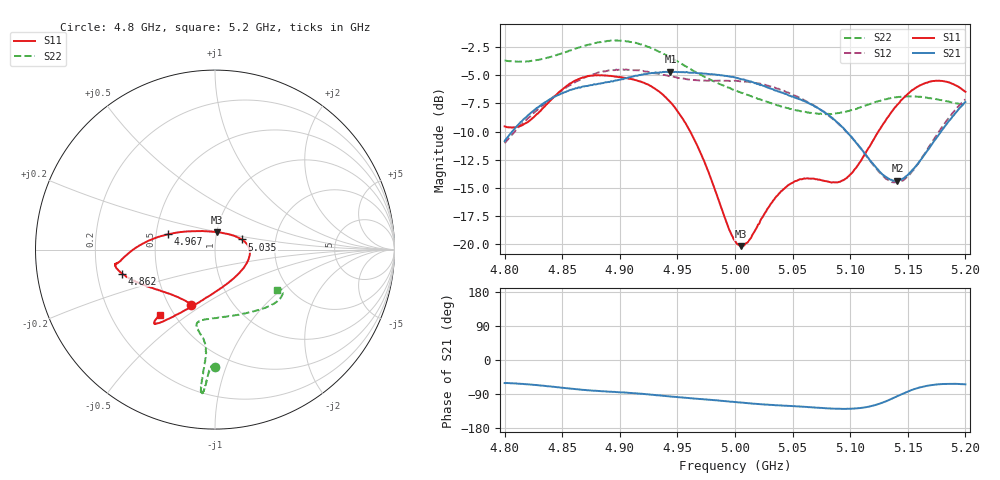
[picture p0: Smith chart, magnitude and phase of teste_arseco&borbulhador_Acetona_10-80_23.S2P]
! Network Analyzer HP8722D
! Hewlett-Packard
! Data name: Linha & Wilkinson
! Saver's name: Rodrigo Anjos
! Comments: Teste da utilização de aquisição
! continua pelo VNA HP8722D
! Time and date: 17/4/2025 14:33
!  Frequency  S11  S21  S12  S22
# HZ  S  MA R 50
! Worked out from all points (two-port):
!   401 points, 4.8 GHz to 5.2 GHz, reference 50 ohm
!   highest |S21| = -4.67 dB at 4.944 GHz (marker M1); lowest = -14.4 dB at 5.141 GHz (marker M2)
!   |S21| within 3 dB of the highest: 4.831 GHz to 5.068 GHz (236.9 MHz wide, 4.79 % of centre); 5.19721 GHz to end of sweep
!   lowest |S11| = -20.2 dB at 5.005 GHz (marker M3), VSWR 1.22, Z = 49.9 + j9.8 ohm
!   |S11| at or under -10 dB: 4.961 GHz to 5.124 GHz (163.3 MHz wide, 3.24 % of centre)
!   |S22| runs from -8.5 to -1.9 dB; largest |S21 - S12| = 0.88
!   S11 on the Smith chart (normalised r, x): 4.8 GHz: 0.65, -0.45; 4.862 GHz: 0.31, -0.11; 4.967 GHz: 0.58, +0.11; 5.035 GHz: 1.34, +0.16; 5.2 GHz: 0.42, -0.39
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4.8e9  0.3334 -113.2  0.2866 -60.9  0.2806 -175.0  0.6549 -90.0
4.82e9  0.3481 -134.1  0.3724 -64.1  0.3617 -173.5  0.6501 -91.6
4.862e9  0.5357 -165.6  0.4936 -76.8  0.5281 -176.7  0.7418 -93.7
4.867e9  0.5482 -167.6  0.5004 -78.5  0.5433 -177.6  0.7555 -93.9
4.9e9  0.5531 -172.1  0.5381 -85.2  0.5966 175.6  0.8034 -95.3
4.934e9  0.4776 -178.0  0.5787 -93.5  0.571 171.9  0.7164 -95.7
4.944e9  0.4269 177.4  0.584 -96.3  0.5566 172.0  0.6758 -95.5
4.967e9  0.2755 162.0  0.5766 -102.3  0.5357 174.0  0.5771 -94.9
5e9  0.1034 102.5  0.5511 -111.0  0.5324 176.2  0.483 -99.1
5.005e9  0.09761 85.1  0.5415 -112.4  0.5295 176.2  0.4719 -100.4
5.012e9  0.1033 62.2  0.5297 -114.3  0.5263 175.9  0.4588 -101.9
5.035e9  0.1604 20.5  0.4819 -119.3  0.4953 174.9  0.4171 -103.4
5.05e9  0.1871 5.1  0.4527 -121.9  0.4615 174.2  0.3978 -99.7
5.067e9  0.1954 -12.8  0.416 -124.9  0.4169 173.7  0.3822 -90.8
5.087e9  0.1878 -45.0  0.3545 -128.7  0.3522 173.6  0.3809 -75.8
5.097e9  0.1963 -65.6  0.315 -128.9  0.3146 174.5  0.3887 -67.5
5.134e9  0.3747 -116.1  0.1942 -105.1  0.1907 -158.0  0.4444 -43.0
5.141e9  0.4168 -120.0  0.1908 -95.2  0.1877 -146.9  0.4502 -39.9
5.153e9  0.4799 -125.0  0.2103 -79.5  0.208 -128.9  0.4537 -35.7
5.17e9  0.5286 -128.6  0.2733 -66.4  0.2786 -112.5  0.4451 -31.9
5.184e9  0.5266 -130.0  0.344 -63.0  0.355 -107.2  0.4317 -30.9
5.2e9  0.4756 -130.3  0.4279 -64.2  0.4403 -106.4  0.4149 -33.2
